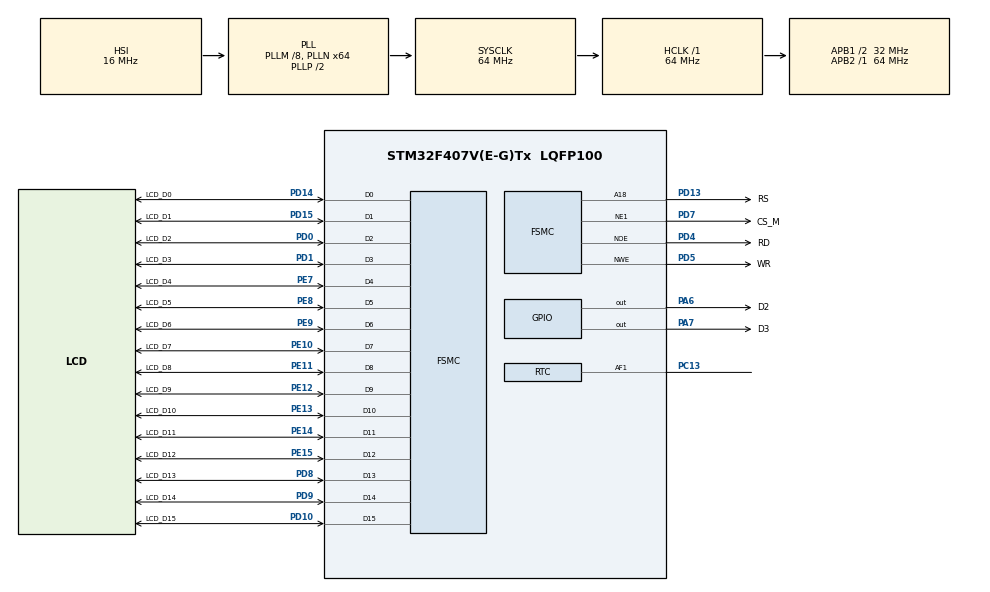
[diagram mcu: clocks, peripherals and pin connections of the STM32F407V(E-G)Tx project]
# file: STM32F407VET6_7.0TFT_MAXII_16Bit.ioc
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FSMC.AddressSetupTime1=2
FSMC.BusTurnAroundDuration1=1
FSMC.DataSetupTime1=5
Mcu.Family=STM32F4
Mcu.Name=STM32F407V(E-G)Tx
Mcu.Package=LQFP100
NVIC.PriorityGroup=NVIC_PRIORITYGROUP_4
PA13.Mode=Serial_Wire
PA13.Signal=SYS_JTMS-SWDIO
PA14.Mode=Serial_Wire
PA14.Signal=SYS_JTCK-SWCLK
PA6.GPIO_Label=D2
PA6.GPIO_Speed=GPIO_SPEED_FREQ_LOW
PA6.PinState=GPIO_PIN_SET
PA6.Signal=GPIO_Output
PA7.GPIO_Label=D3
PA7.GPIO_Speed=GPIO_SPEED_FREQ_LOW
PA7.PinState=GPIO_PIN_SET
PA7.Signal=GPIO_Output
PC13-ANTI_TAMP.Mode=Calibration_1Hz
PC13-ANTI_TAMP.Signal=RTC_AF1
PC14-OSC32_IN.Mode=LSE-External-Oscillator
PC14-OSC32_IN.Signal=RCC_OSC32_IN
PC15-OSC32_OUT.Mode=LSE-External-Oscillator
PC15-OSC32_OUT.Signal=RCC_OSC32_OUT
PD0.GPIO_Label=LCD_D2
PD0.Mode=16b-d1
PD0.Signal=FSMC_D2
PD1.GPIO_Label=LCD_D3
PD1.Mode=16b-d1
PD1.Signal=FSMC_D3
PD10.GPIO_Label=LCD_D15
PD10.Mode=16b-d1
PD10.Signal=FSMC_D15
PD13.GPIO_Label=RS
PD13.Mode=A18_1
PD13.Signal=FSMC_A18
PD14.GPIO_Label=LCD_D0
PD14.Mode=16b-d1
PD14.Signal=FSMC_D0
PD15.GPIO_Label=LCD_D1
PD15.Mode=16b-d1
PD15.Signal=FSMC_D1
PD4.GPIO_Label=RD
PD4.Mode=Lcd1
PD4.Signal=FSMC_NOE
PD5.GPIO_Label=WR
PD5.Mode=Lcd1
PD5.Signal=FSMC_NWE
PD7.GPIO_Label=CS_M
PD7.Mode=NorPsramChipSelect1_1
PD7.Signal=FSMC_NE1
PD8.GPIO_Label=LCD_D13
PD8.Mode=16b-d1
PD8.Signal=FSMC_D13
PD9.GPIO_Label=LCD_D14
PD9.Mode=16b-d1
PD9.Signal=FSMC_D14
PE10.GPIO_Label=LCD_D7
PE10.Mode=16b-d1
PE10.Signal=FSMC_D7
PE11.GPIO_Label=LCD_D8
PE11.Mode=16b-d1
PE11.Signal=FSMC_D8
PE12.GPIO_Label=LCD_D9
PE12.Mode=16b-d1
PE12.Signal=FSMC_D9
PE13.GPIO_Label=LCD_D10
PE13.Mode=16b-d1
PE13.Signal=FSMC_D10
PE14.GPIO_Label=LCD_D11
PE14.Mode=16b-d1
PE14.Signal=FSMC_D11
PE15.GPIO_Label=LCD_D12
PE15.Mode=16b-d1
PE15.Signal=FSMC_D12
PE7.GPIO_Label=LCD_D4
PE7.Mode=16b-d1
PE7.Signal=FSMC_D4
PE8.GPIO_Label=LCD_D5
PE8.Mode=16b-d1
PE8.Signal=FSMC_D5
PE9.GPIO_Label=LCD_D6
PE9.Mode=16b-d1
PE9.Signal=FSMC_D6
ProjectManager.HeapSize=0x200
ProjectManager.StackSize=0x400
ProjectManager.TargetToolchain=STM32CubeIDE
RCC.48MHZClocksFreq_Value=32000000
RCC.AHBFreq_Value=64000000
RCC.APB1CLKDivider=RCC_HCLK_DIV2
RCC.APB1Freq_Value=32000000
RCC.APB1TimFreq_Value=64000000
RCC.APB2Freq_Value=64000000
RCC.APB2TimFreq_Value=64000000
RCC.CortexFreq_Value=64000000
RCC.HCLKFreq_Value=64000000
RCC.HSE_VALUE=25000000
RCC.HSI_VALUE=16000000
RCC.PLLM=8
RCC.PLLN=64
RCC.RCC_RTC_Clock_Source=RCC_RTCCLKSOURCE_LSE
RCC.RCC_RTC_Clock_SourceVirtual=RCC_RTCCLKSOURCE_LSE
RCC.SYSCLKFreq_VALUE=64000000
RCC.SYSCLKSource=RCC_SYSCLKSOURCE_PLLCLK
RCC.VCOOutputFreq_Value=128000000
VP_RTC_VS_RTC_Activate.Mode=RTC_Enabled
VP_RTC_VS_RTC_Calendar.Mode=RTC_Calendar
board=custom

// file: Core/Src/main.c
/* USER CODE BEGIN Header */
/**
  ******************************************************************************
  * @file           : main.c
  * @brief          : Main program body
  ******************************************************************************
  * @attention
  *
  * Copyright (c) 2026 STMicroelectronics.
  * All rights reserved.
  *
  * This software is licensed under terms that can be found in the LICENSE file
  * in the root directory of this software component.
  * If no LICENSE file comes with this software, it is provided AS-IS.
  *
  ******************************************************************************
  */
/* USER CODE END Header */

#include "main.h"

/* USER CODE BEGIN Includes */
#include <md070sd.h>
#include <stdio.h>
#include <string.h>
#include <stdlib.h>
#include "lvgl.h"
/* USER CODE END Includes */

/* USER CODE BEGIN PTD */
#define BACKGROUND	COLOR_LIME
/* USER CODE END PTD */

/* USER CODE BEGIN PD */
#define DRAW_BUF_SIZE (LCD_WIDTH * 40)
/* USER CODE END PD */

RTC_HandleTypeDef hrtc;
SRAM_HandleTypeDef hsram1;

/* USER CODE BEGIN PV */
RTC_TimeTypeDef sTime;
RTC_DateTypeDef sDate;
char timeStr[16];   /* "HH:MM:SS" с запасом */
char dateStr[16];   /* "DD.MM.YYYY" с запасом */
// Глобальные объекты UI для обновления в цикле
lv_obj_t * ui_LabelTime; // Только ЧЧ:ММ
lv_obj_t * ui_LabelSec;  // Только :СС
lv_obj_t * ui_LabelDate;

// Буфер для LVGL
static uint16_t draw_buf[DRAW_BUF_SIZE];

// Ссылка на шрифт
extern lv_font_t MyFont;
/* USER CODE END PV */

void SystemClock_Config(void);
static void MX_GPIO_Init(void);
static void MX_FSMC_Init(void);
static void MX_RTC_Init(void);

/* USER CODE BEGIN 0 */
void LED_BlinkNumber(GPIO_TypeDef* port, uint16_t pin, uint8_t count)
{
    for (uint8_t i = 0; i < count; i++)
    {
        HAL_GPIO_WritePin(port, pin, GPIO_PIN_RESET);
        HAL_Delay(300);
        HAL_GPIO_WritePin(port, pin, GPIO_PIN_SET);
        HAL_Delay(300);
    }
    HAL_Delay(500);
}

/*
 * Функция устанавливает время RTC, равное времени компиляции прошивки.
 * Формат __DATE__: "Mmm DD YYYY" (например "Mar 02 2026")
 * Формат __TIME__: "HH:MM:SS" (например "18:30:00")
 */
void RTC_SetToCompileTime(void)
{
    RTC_TimeTypeDef sTime = {0};
    RTC_DateTypeDef sDate = {0};
    const char *dateStr = __DATE__;
    const char *timeStr = __TIME__;

    // --- Парсим ВРЕМЯ ---
    // __TIME__ формат "HH:MM:SS"
    sTime.Hours   = (timeStr[0] - '0') * 10 + (timeStr[1] - '0');
    sTime.Minutes = (timeStr[3] - '0') * 10 + (timeStr[4] - '0');
    sTime.Seconds = (timeStr[6] - '0') * 10 + (timeStr[7] - '0');
    sTime.DayLightSaving = RTC_DAYLIGHTSAVING_NONE;
    sTime.StoreOperation = RTC_STOREOPERATION_RESET;

    // --- Парсим ДАТУ ---
    // __DATE__ формат "Mmm DD YYYY"

    // Год (берем последние 2 цифры, предполагая 21 век)
    sDate.Year = (dateStr[9] - '0') * 10 + (dateStr[10] - '0');

    // День (может быть пробел, если день < 10, например "Mar  2 2026")
    if (dateStr[4] == ' ') {
        sDate.Date = dateStr[5] - '0';
    } else {
        sDate.Date = (dateStr[4] - '0') * 10 + (dateStr[5] - '0');
    }

    // Месяц (сравниваем текст)
    const char *months = "JanFebMarAprMayJunJulAugSepOctNovDec";
    char currentMonth[4];
    strncpy(currentMonth, dateStr, 3);
    currentMonth[3] = '\0';

    for (int i = 0; i < 12; i++) {
        if (strncmp(currentMonth, &months[i * 3], 3) == 0) {
            sDate.Month = i + 1;
            break;
        }
    }

    // Установка в RTC
    HAL_RTC_SetTime(&hrtc, &sTime, RTC_FORMAT_BIN);
    HAL_RTC_SetDate(&hrtc, &sDate, RTC_FORMAT_BIN);

    // Записываем флаг в Backup регистр
    HAL_RTCEx_BKUPWrite(&hrtc, RTC_BKP_DR0, 0xA5A5);
}

/*
 * Функция сброса буфера на дисплей (Flush Callback)
 * Это "мост" между LVGL и вашим драйвером md070sd
 */
void my_disp_flush(lv_display_t * disp, const lv_area_t * area, uint8_t * px_map)
{
    // 1. Устанавливаем окно записи на дисплее
    MD_SetWindow(area->x1, area->y1, area->x2, area->y2);

    // 2. Вычисляем количество пикселей
    uint32_t count = (area->x2 - area->x1 + 1) * (area->y2 - area->y1 + 1);
    uint16_t * color_p = (uint16_t *)px_map;

    // 3. Отправляем данные потоком (максимально быстро)
    // Используем прямой доступ к адресу LCD_DATA для скорости
    volatile uint16_t * lcd_ram = (volatile uint16_t *)0x60080000; // Адрес данных FSMC

    while (count > 0) {
        *lcd_ram = *color_p++;
        count--;
    }

    // 4. Сообщаем LVGL, что мы закончили
    lv_display_flush_ready(disp);
}

/*
 * Создание интерфейса
 */
void CreateUI(void)
{
    lv_obj_t * scr = lv_screen_active();
    lv_obj_set_style_bg_color(scr, lv_color_hex(0x000000), 0);

    // --- Стиль текста (Общий) ---
    static lv_style_t style_text;
    lv_style_init(&style_text);
    lv_style_set_text_font(&style_text, &MyFont); // Orbitron 100px
    lv_style_set_text_color(&style_text, lv_color_hex(0x00FFFF)); // Cyan

    // --- 1. Основное время (ЧАСЫ : МИНУТЫ :) ---
    ui_LabelTime = lv_label_create(scr);
    lv_obj_add_style(ui_LabelTime, &style_text, 0);

    // ТЕПЕРЬ ДВОЕТОЧИЕ ЗДЕСЬ В КОНЦЕ
    lv_label_set_text(ui_LabelTime, "00:00:");

    // СМЕЩЕНИЕ:
    // X = -80: Сдвигаем еще левее, так как строка стала шире на одно двоеточие.
    // Y = -60: Оставляем как было.
    lv_obj_align(ui_LabelTime, LV_ALIGN_CENTER, -80, -60);

    // --- 2. Секунды (СС) ---
    ui_LabelSec = lv_label_create(scr);
    lv_obj_add_style(ui_LabelSec, &style_text, 0);

    // Цвет секунд (Серый)
    lv_obj_set_style_text_color(ui_LabelSec, lv_color_hex(COLOR_GRAY_7), 0); // Светло-серый

    // ТЕПЕРЬ ЗДЕСЬ ТОЛЬКО ЦИФРЫ
    lv_label_set_text(ui_LabelSec, "00");

    // ПРИВЯЗКА:
    // Крепим к правому краю часов.
    // X = 0: Двоеточие уже есть в часах, поэтому отступ можно сделать минимальным или 0.
    lv_obj_align_to(ui_LabelSec, ui_LabelTime, LV_ALIGN_OUT_RIGHT_BOTTOM, 0, 0);

    // --- 3. Дата ---
    ui_LabelDate = lv_label_create(scr);
    lv_obj_add_style(ui_LabelDate, &style_text, 0);
    lv_obj_set_style_text_color(ui_LabelDate, lv_color_hex(0xFFFF00), 0); // Yellow
    lv_label_set_text(ui_LabelDate, "01/01/2026");

    // СМЕЩЕНИЕ ДАТЫ:
    lv_obj_align(ui_LabelDate, LV_ALIGN_CENTER, 0, 70);

    // Если дата 100px не влезает, можно уменьшить масштаб (опционально)
    // lv_obj_set_style_transform_scale(ui_LabelDate, 128, 0);
}

/*
 * Обновление данных времени
 */
void UpdateTimeUI(void)
{
    RTC_TimeTypeDef sTime;
    RTC_DateTypeDef sDate;

    HAL_RTC_GetTime(&hrtc, &sTime, RTC_FORMAT_BIN);
    HAL_RTC_GetDate(&hrtc, &sDate, RTC_FORMAT_BIN);

    // ВНИМАНИЕ: Двоеточие в конце формата времени!
    lv_label_set_text_fmt(ui_LabelTime, "%02d:%02d:", sTime.Hours, sTime.Minutes);

    // ВНИМАНИЕ: Здесь только цифры!
    lv_label_set_text_fmt(ui_LabelSec, "%02d", sTime.Seconds);

    // Дата без изменений
    lv_label_set_text_fmt(ui_LabelDate, "%02d/%02d/20%02d", sDate.Date, sDate.Month, sDate.Year);
}

/* USER CODE END 0 */

int main(void)
{

  /* MCU Configuration--------------------------------------------------------*/

  /* Reset of all peripherals, Initializes the Flash interface and the Systick. */
  HAL_Init();

  /* Configure the system clock */
  SystemClock_Config();

  /* Initialize all configured peripherals */
  MX_GPIO_Init();
  MX_FSMC_Init();
  MX_RTC_Init();
  /* USER CODE BEGIN 2 */

//							  for (int i = 0; i < 5; i++)
//							  {
//								  HAL_GPIO_WritePin(D2_GPIO_Port, D2_Pin, GPIO_PIN_RESET);
//								  HAL_Delay(100);
//								  HAL_GPIO_WritePin(D2_GPIO_Port, D2_Pin, GPIO_PIN_SET);
//								  HAL_Delay(100);
//							  }
//							  HAL_Delay(100);
//
//							  /* Инициализация */
//							  MD_Init();
//							  HAL_Delay(100);

  	  /* Инициализация дисплея */
      MD_Init();
//      MD_FillScreen(BACKGROUND);

      //Инициализация ядра LVGL
        lv_init();

        // 3. Регистрация дисплея в LVGL
          lv_display_t * disp = lv_display_create(LCD_WIDTH, LCD_HEIGHT);
          lv_display_set_flush_cb(disp, my_disp_flush); // Назначаем нашу функцию отрисовки

          // Назначаем буфер. Partial mode означает, что LVGL рисует частями.
          lv_display_set_buffers(disp, draw_buf, NULL, sizeof(draw_buf), LV_DISPLAY_RENDER_MODE_PARTIAL);

          // 4. Создаем виджеты
          CreateUI();

          if (HAL_RTCEx_BKUPRead(&hrtc, RTC_BKP_DR0) != 0xA5A5)
            {
                RTC_SetToCompileTime(); // <--- Устанавливаем время сборки
            }

          /*
             * ВАРИАНТ Б (ДЛЯ ОТЛАДКИ):
             * Раскомментируйте строку ниже, прошейте один раз.
             * Часы установятся на время компиляции.
             * После этого закомментируйте обратно, чтобы при перезагрузке (Reset)
             * время не отскакивало назад в прошлое.
             */
//             RTC_SetToCompileTime();

          uint32_t last_time_update = 0;
      /* Установка времени (если нужно) */
      /* Раскомментируй и установи текущее время при первом запуске */
//       RTC_SetTime(12, 30, 0);        /* 12:30:00 */
//       RTC_SetDate(15, 6, 25, 7);     /* 15 июня 2025, воскресенье */
       while (1)
       {
       /* Отображаем время */
//              DisplayTime();
//              DisplayTimeFancy();
//              DisplayDateTime();

    	   // 1. Менеджер задач LVGL (рисование, анимации, таймеры)
    	         // Должен вызываться каждые несколько мс
    	         lv_timer_handler();

    	         // 2. Обновление времени раз в 249мс
    	         if (HAL_GetTick() - last_time_update > 249) {
    	             UpdateTimeUI();
    	             // Мигаем светодиодом для индикации работы
    	             HAL_GPIO_TogglePin(D2_GPIO_Port, D2_Pin);
    	             last_time_update = HAL_GetTick();
    	         }

              /* Задержка 100 мс для плавного обновления */
//              HAL_Delay(100);
       }
  /* USER CODE END 2 */

  /* Infinite loop */
  /* USER CODE BEGIN WHILE */
  while (1)
  {
	  /* Тест 1: Все цвета */
	     LED_BlinkNumber(D2_GPIO_Port, D2_Pin, 1);
	     MD_FillScreen(COLOR_RED);
	     HAL_Delay(1000);
	     MD_FillScreen(COLOR_GREEN);
	     HAL_Delay(1000);
	     MD_FillScreen(COLOR_BLUE);
	     HAL_Delay(1000);
	     MD_FillScreen(COLOR_WHITE);
	     HAL_Delay(1000);
	     	 	 MD_FillScreen(COLOR_YELLOW);
	     	     HAL_Delay(1000);
	     	     MD_FillScreen(COLOR_ORANGE);
	     	     HAL_Delay(1000);
	     	     MD_FillScreen(COLOR_CYAN);
	     	     HAL_Delay(1000);
	     	     MD_FillScreen(COLOR_MAGENTA);
	     	     HAL_Delay(1000);
	     	     	 	 MD_FillScreen(COLOR_PINK);
	     	    	     HAL_Delay(1000);
	     	    	     MD_FillScreen(COLOR_BROWN);
	     	    	     HAL_Delay(1000);
	     	    	     MD_FillScreen(COLOR_SILVER);
	     	    	     HAL_Delay(1000);
	     	    	     MD_FillScreen(COLOR_GRAY);
	     	    	     HAL_Delay(1000);
	     	    	     	 	 MD_FillScreen(COLOR_MAROON);
	     	    	    	     HAL_Delay(1000);
	     	    	    	     MD_FillScreen(COLOR_OLIVE);
	     	    	    	     HAL_Delay(1000);
	     	    	    	     MD_FillScreen(COLOR_LIME);
	     	    	    	     HAL_Delay(1000);
	     	    	    	     MD_FillScreen(COLOR_AQUA);
	     	    	    	     HAL_Delay(1000);
	     	    	    	     	 	 MD_FillScreen(COLOR_TEAL);
	     	    	    	    	     HAL_Delay(1000);
	     	    	    	    	     MD_FillScreen(COLOR_NAVY);
	     	    	    	    	     HAL_Delay(1000);
	     	    	    	    	     MD_FillScreen(COLOR_FUCHSIA);
	     	    	    	    	     HAL_Delay(1000);
	     	    	    	    	     MD_FillScreen(COLOR_PURPLE);
	     	    	    	    	     HAL_Delay(1000);

	     /* Тест 2: Рамка по краю экрана */
	     LED_BlinkNumber(D2_GPIO_Port, D2_Pin, 2);
	     MD_FillScreen(COLOR_BLACK);
	     MD_DrawRect(0, 0, 799, 480, COLOR_WHITE);
	     HAL_Delay(3000);

	     /* Тест 3: Несколько рамок */
	     LED_BlinkNumber(D2_GPIO_Port, D2_Pin, 3);
	     MD_FillScreen(COLOR_BLACK);
	     MD_DrawRect(0, 0, 799, 480, COLOR_RED);
	     MD_DrawRect(50, 50, 700, 380, COLOR_GREEN);
	     MD_DrawRect(100, 100, 600, 280, COLOR_BLUE);
	     HAL_Delay(3000);

	     /* Тест 4: Прямоугольники */
	     LED_BlinkNumber(D2_GPIO_Port, D2_Pin, 4);
	     MD_FillScreen(COLOR_BLACK);
	     MD_FillRect(50, 50, 200, 150, COLOR_RED);
	     MD_FillRect(300, 150, 200, 200, COLOR_GREEN);
	     MD_FillRect(550, 100, 200, 300, COLOR_BLUE);
	     HAL_Delay(3000);

	     /* Тест 5: Крест */
	     LED_BlinkNumber(D2_GPIO_Port, D2_Pin, 5);
	     MD_FillScreen(COLOR_BLACK);
	     MD_FillRect(0, 235, 800, 10, COLOR_WHITE);
	     MD_FillRect(395, 0, 10, 480, COLOR_WHITE);
	     HAL_Delay(3000);

	     /* Тест 6: Градиент яркости */
	     LED_BlinkNumber(D2_GPIO_Port, D2_Pin, 6);
	     MD_FillScreen(COLOR_BLUE);
	     for (int br = 16; br >= 0; br--)
	     {
	         MD_SetBacklight(br);
	         HAL_Delay(100);
	     }
	     for (int br = 0; br <= 16; br++)
	     {
	         MD_SetBacklight(br);
	         HAL_Delay(100);
	     }
	     HAL_Delay(1000);

	     /* Тест 7: Все цвета палитры */
	     LED_BlinkNumber(D2_GPIO_Port, D2_Pin, 7);
	     MD_FillScreen(COLOR_BLACK);
	     MD_FillRect(0, 0, 100, 120, COLOR_RED);
	     MD_FillRect(100, 0, 100, 120, COLOR_GREEN);
	     MD_FillRect(200, 0, 100, 120, COLOR_BLUE);
	     MD_FillRect(300, 0, 100, 120, COLOR_YELLOW);
	     MD_FillRect(400, 0, 100, 120, COLOR_CYAN);
	     MD_FillRect(500, 0, 100, 120, COLOR_MAGENTA);
	     MD_FillRect(600, 0, 100, 120, COLOR_WHITE);
	     MD_FillRect(700, 0, 100, 120, COLOR_SILVER);

	     MD_FillRect(0, 120, 100, 120, COLOR_GRAY);
	     MD_FillRect(100, 120, 100, 120, COLOR_MAROON);
	     MD_FillRect(200, 120, 100, 120, COLOR_OLIVE);
	     MD_FillRect(300, 120, 100, 120, COLOR_LIME);
	     MD_FillRect(400, 120, 100, 120, COLOR_AQUA);
	     MD_FillRect(500, 120, 100, 120, COLOR_TEAL);
	     MD_FillRect(600, 120, 100, 120, COLOR_NAVY);
	     MD_FillRect(700, 120, 100, 120, COLOR_PURPLE);

	     MD_FillRect(0, 240, 100, 120, COLOR_FUCHSIA);
	     MD_FillRect(100, 240, 100, 120, COLOR_ORANGE);
	     HAL_Delay(5000);

	     /* Демо геометрии */
	             MD_Clear(BACKGROUND);
	             MD_FillRect(50, 50, 200, 150, COLOR_RED);
	             MD_DrawRect(50, 50, 200, 150, COLOR_WHITE);
	             MD_FillCircle(500, 240, 100, COLOR_GREEN);
	             MD_DrawCircle(500, 240, 100, COLOR_WHITE);
	             MD_FillTriangle(650, 50, 750, 200, 600, 200, COLOR_BLUE);
	             MD_FillRoundRect(100, 300, 200, 100, 20, COLOR_YELLOW);
	             MD_DrawLine(0, 0, 799, 479, COLOR_WHITE);
	             HAL_Delay(3000);

	             /* Демо двойной буферизации */
	                     MD_SetDisplayPage(0);
	                     MD_SetWritePage(1);
	                     MD_FillScreen(COLOR_CYAN);
	                     MD_FillCircle(400, 240, 150, COLOR_RED);
	                     MD_SwapPages();  /* Мгновенное переключение */
	                     HAL_Delay(1000);

	                     /* Демо режима сна */
	                     MD_SetDisplayPage(0);
	                     MD_SetWritePage(0);
	                             MD_Sleep(1);
	                             HAL_Delay(2000);
	                             MD_WakeUp();
	                             HAL_Delay(1000);

    /* USER CODE END WHILE */

  }
}

void SystemClock_Config(void)
{
  RCC_OscInitTypeDef RCC_OscInitStruct = {0};
  RCC_ClkInitTypeDef RCC_ClkInitStruct = {0};

  /** Configure the main internal regulator output voltage
  */
  __HAL_RCC_PWR_CLK_ENABLE();
  __HAL_PWR_VOLTAGESCALING_CONFIG(PWR_REGULATOR_VOLTAGE_SCALE1);

  /** Initializes the RCC Oscillators according to the specified parameters
  * in the RCC_OscInitTypeDef structure.
  */
  RCC_OscInitStruct.OscillatorType = RCC_OSCILLATORTYPE_HSI|RCC_OSCILLATORTYPE_LSE;
  RCC_OscInitStruct.LSEState = RCC_LSE_ON;
  RCC_OscInitStruct.HSIState = RCC_HSI_ON;
  RCC_OscInitStruct.HSICalibrationValue = RCC_HSICALIBRATION_DEFAULT;
  RCC_OscInitStruct.PLL.PLLState = RCC_PLL_ON;
  RCC_OscInitStruct.PLL.PLLSource = RCC_PLLSOURCE_HSI;
  RCC_OscInitStruct.PLL.PLLM = 8;
  RCC_OscInitStruct.PLL.PLLN = 64;
  RCC_OscInitStruct.PLL.PLLP = RCC_PLLP_DIV2;
  RCC_OscInitStruct.PLL.PLLQ = 4;
  if (HAL_RCC_OscConfig(&RCC_OscInitStruct) != HAL_OK)
  {
    Error_Handler();
  }

  /** Initializes the CPU, AHB and APB buses clocks
  */
  RCC_ClkInitStruct.ClockType = RCC_CLOCKTYPE_HCLK|RCC_CLOCKTYPE_SYSCLK
                              |RCC_CLOCKTYPE_PCLK1|RCC_CLOCKTYPE_PCLK2;
  RCC_ClkInitStruct.SYSCLKSource = RCC_SYSCLKSOURCE_PLLCLK;
  RCC_ClkInitStruct.AHBCLKDivider = RCC_SYSCLK_DIV1;
  RCC_ClkInitStruct.APB1CLKDivider = RCC_HCLK_DIV2;
  RCC_ClkInitStruct.APB2CLKDivider = RCC_HCLK_DIV1;

  if (HAL_RCC_ClockConfig(&RCC_ClkInitStruct, FLASH_LATENCY_2) != HAL_OK)
  {
    Error_Handler();
  }
}

static void MX_RTC_Init(void)
{

  RTC_TimeTypeDef sTime = {0};
  RTC_DateTypeDef sDate = {0};

  /** Initialize RTC Only
  */
  hrtc.Instance = RTC;
  hrtc.Init.HourFormat = RTC_HOURFORMAT_24;
  hrtc.Init.AsynchPrediv = 127;
  hrtc.Init.SynchPrediv = 255;
  hrtc.Init.OutPut = RTC_OUTPUT_DISABLE;
  hrtc.Init.OutPutPolarity = RTC_OUTPUT_POLARITY_HIGH;
  hrtc.Init.OutPutType = RTC_OUTPUT_TYPE_OPENDRAIN;
  if (HAL_RTC_Init(&hrtc) != HAL_OK)
  {
    Error_Handler();
  }

  /* USER CODE BEGIN Check_RTC_BKUP */
  HAL_PWR_EnableBkUpAccess();

    // Если RTC уже был настроен и backup domain жив (VBAT есть),
    // то НЕ выполняем нижний SetTime/SetDate (иначе сброс на 00:00:00)
    if (HAL_RTCEx_BKUPRead(&hrtc, RTC_BKP_DR0) == 0xA5A5)
    {
      return;
    }
  /* USER CODE END Check_RTC_BKUP */

  /** Initialize RTC and set the Time and Date
  */
  sTime.Hours = 0x0;
  sTime.Minutes = 0x0;
  sTime.Seconds = 0x0;
  sTime.DayLightSaving = RTC_DAYLIGHTSAVING_NONE;
  sTime.StoreOperation = RTC_STOREOPERATION_RESET;
  if (HAL_RTC_SetTime(&hrtc, &sTime, RTC_FORMAT_BCD) != HAL_OK)
  {
    Error_Handler();
  }
  sDate.WeekDay = RTC_WEEKDAY_MONDAY;
  sDate.Month = RTC_MONTH_JANUARY;
  sDate.Date = 0x1;
  sDate.Year = 0x0;

  if (HAL_RTC_SetDate(&hrtc, &sDate, RTC_FORMAT_BCD) != HAL_OK)
  {
    Error_Handler();
  }

  /** Enable Calibrartion
  */
  if (HAL_RTCEx_SetCalibrationOutPut(&hrtc, RTC_CALIBOUTPUT_1HZ) != HAL_OK)
  {
    Error_Handler();
  }
  /* USER CODE BEGIN RTC_Init 2 */
  HAL_RTCEx_BKUPWrite(&hrtc, RTC_BKP_DR0, 0xA5A5);
  /* USER CODE END RTC_Init 2 */

}

static void MX_GPIO_Init(void)
{
  GPIO_InitTypeDef GPIO_InitStruct = {0};

  /* GPIO Ports Clock Enable */
  __HAL_RCC_GPIOC_CLK_ENABLE();
  __HAL_RCC_GPIOA_CLK_ENABLE();
  __HAL_RCC_GPIOE_CLK_ENABLE();
  __HAL_RCC_GPIOD_CLK_ENABLE();

  /*Configure GPIO pin Output Level */
  HAL_GPIO_WritePin(GPIOA, D2_Pin|D3_Pin, GPIO_PIN_SET);

  /*Configure GPIO pins : D2_Pin D3_Pin */
  GPIO_InitStruct.Pin = D2_Pin|D3_Pin;
  GPIO_InitStruct.Mode = GPIO_MODE_OUTPUT_PP;
  GPIO_InitStruct.Pull = GPIO_NOPULL;
  GPIO_InitStruct.Speed = GPIO_SPEED_FREQ_LOW;
  HAL_GPIO_Init(GPIOA, &GPIO_InitStruct);

}

/* FSMC initialization function */
static void MX_FSMC_Init(void)
{

  FSMC_NORSRAM_TimingTypeDef Timing = {0};

  /** Perform the SRAM1 memory initialization sequence
  */
  hsram1.Instance = FSMC_NORSRAM_DEVICE;
  hsram1.Extended = FSMC_NORSRAM_EXTENDED_DEVICE;
  /* hsram1.Init */
  hsram1.Init.NSBank = FSMC_NORSRAM_BANK1;
  hsram1.Init.DataAddressMux = FSMC_DATA_ADDRESS_MUX_DISABLE;
  hsram1.Init.MemoryType = FSMC_MEMORY_TYPE_SRAM;
  hsram1.Init.MemoryDataWidth = FSMC_NORSRAM_MEM_BUS_WIDTH_16;
  hsram1.Init.BurstAccessMode = FSMC_BURST_ACCESS_MODE_DISABLE;
  hsram1.Init.WaitSignalPolarity = FSMC_WAIT_SIGNAL_POLARITY_LOW;
  hsram1.Init.WrapMode = FSMC_WRAP_MODE_DISABLE;
  hsram1.Init.WaitSignalActive = FSMC_WAIT_TIMING_BEFORE_WS;
  hsram1.Init.WriteOperation = FSMC_WRITE_OPERATION_ENABLE;
  hsram1.Init.WaitSignal = FSMC_WAIT_SIGNAL_DISABLE;
  hsram1.Init.ExtendedMode = FSMC_EXTENDED_MODE_DISABLE;
  hsram1.Init.AsynchronousWait = FSMC_ASYNCHRONOUS_WAIT_DISABLE;
  hsram1.Init.WriteBurst = FSMC_WRITE_BURST_DISABLE;
  hsram1.Init.PageSize = FSMC_PAGE_SIZE_NONE;
  /* Timing */
  Timing.AddressSetupTime = 10;
  Timing.AddressHoldTime = 2;
  Timing.DataSetupTime = 15;
  Timing.BusTurnAroundDuration = 1;
  Timing.CLKDivision = 2;
  Timing.DataLatency = 2;
  Timing.AccessMode = FSMC_ACCESS_MODE_A;
  /* ExtTiming */

  if (HAL_SRAM_Init(&hsram1, &Timing, NULL) != HAL_OK)
  {
    Error_Handler( );
  }

}

void Error_Handler(void)
{
  __disable_irq();
  while (1)
  {
  }
}
